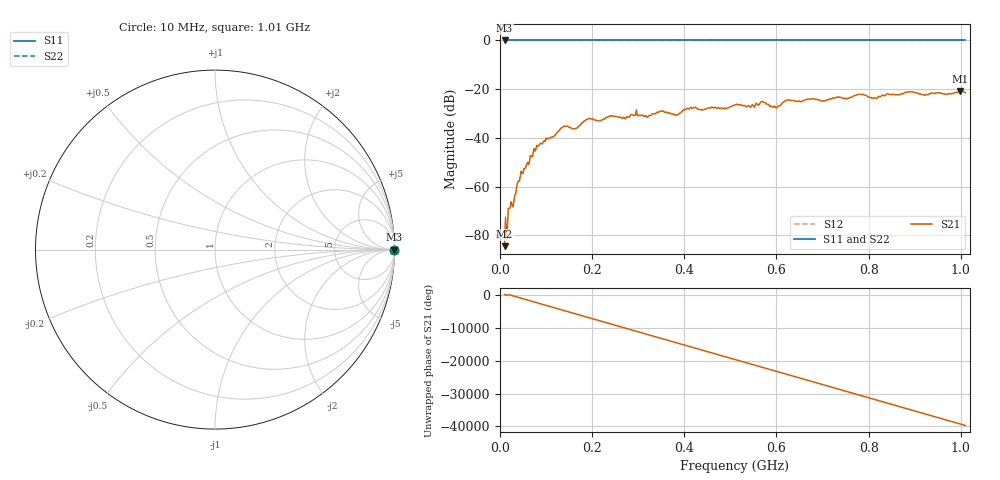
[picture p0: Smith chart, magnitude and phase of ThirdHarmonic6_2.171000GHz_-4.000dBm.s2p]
! 8/17/2025 1:54:04 AM
! C:\ANRITSUVNA\TEMP\TEMP.S2P
! CHANNEL.1
! TR.MEASUREMENT
! RAW.DATA
! RF.CORRECTION.OFF
! AVERAGING.OFF
! IF.BANDWIDTH: 5KHZ
! SWEEPTYPE:  FREQ.SWEEP(Linear)
! Reference Plane Port Info
! PORT:  PORT1  PORT2
! DISTANCE:  0  m  0  m
! TIME:  0  s  0  s
! PHASE.OFFSET:  0  deg.  0  deg.
! LOSS:  0  dB  0  dB
! REF.LOSS:  0  dB  0  dB
! REF.FREQ:  0  Hz  0  Hz
! Power Info
! POWER:  -20  dBm  -20  dBm
! EFF.POWER:  -20  dBm  -20  dBm
! SOURCE.ATTEN:  0  dB  0  dB
! TEST.ATTEN:  0  dB  0  dB
# GHZ S RI R 50.0
! FREQ.GHZ  S11RE  S11IM  S21RE  S21IM  S12RE  S12IM  S22RE  S22IM
!; PortSelection: Port_12
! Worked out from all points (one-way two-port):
!   501 points, 10 MHz to 1.01 GHz, reference 50 ohm
!   highest |S21| = -20.71 dB at 998 MHz (marker M1); lowest = -84.4 dB at 10 MHz (marker M2)
!   lowest |S11| = 0.0 dB at 10 MHz (marker M3)
!   |S11| at or under -10 dB: nowhere
!   |S22| runs from 0.0 to 0.0 dB; largest |S21 - S12| = 1.1
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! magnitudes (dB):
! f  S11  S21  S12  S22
! 10 MHz  0.0  -84.4  0.0  0.0
! 22 MHz  0.0  -68.8  0.0  0.0
! 30 MHz  0.0  -66.2  0.0  0.0
! 42 MHz  0.0  -57.7  0.0  0.0
! 78 MHz  0.0  -44.5  0.0  0.0
! 136 MHz  0.0  -35.6  0.0  0.0
! 164 MHz  0.0  -36.2  0.0  0.0
! 178 MHz  0.0  -33.9  0.0  0.0
! 192 MHz  0.0  -32.1  0.0  0.0
! 322 MHz  0.0  -31.1  0.0  0.0
! 344 MHz  0.0  -29.5  0.0  0.0
! 384 MHz  0.0  -30.4  0.0  0.0
! 410 MHz  0.0  -28.2  0.0  0.0
! 510 MHz  0.0  -26.4  0.0  0.0
! 548 MHz  0.0  -26.3  0.0  0.0
! 570 MHz  0.0  -25.1  0.0  0.0
! 598 MHz  0.0  -27.4  0.0  0.0
! 624 MHz  0.0  -24.4  0.0  0.0
! 678 MHz  0.0  -23.9  0.0  0.0
! 844 MHz  0.0  -22.1  0.0  0.0
! 998 MHz  0.0  -20.7  0.0  0.0
! 1.01 GHz  0.0  -21.4  0.0  0.0
